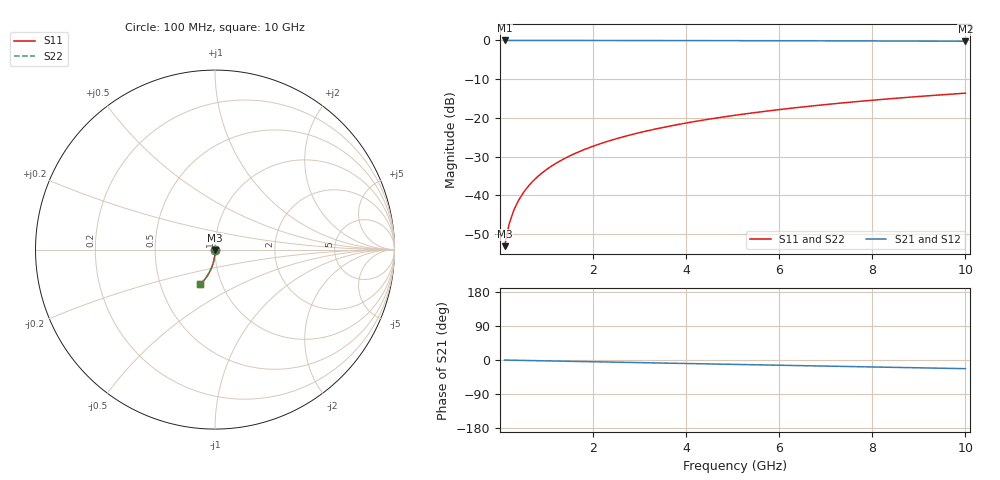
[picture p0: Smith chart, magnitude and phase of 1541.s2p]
# Hz S RI R 50.00
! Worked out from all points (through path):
!   100 points, 100 MHz to 10 GHz, reference 50 ohm
!   highest |S21| = 0.00 dB at 100 MHz (marker M1); lowest = -0.2 dB at 10 GHz (marker M2)
!   group delay of S21, straight-line fit = 6.36 ps
!   lowest |S11| = -53.1 dB at 100 MHz (marker M3), VSWR 1.00, Z = 50 - j0.216 ohm
!   |S11| at or under -10 dB: start of sweep to end of sweep
!   |S22| runs from -53.1 to -13.6 dB; largest |S21 - S12| = 1e-14
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1e8  0.000499 -0.00216  0.9995 -0.00402  0.9995 -0.00402  0.000499 -0.00216
2e8  0.000473 -0.00432  0.9994 -0.00804  0.9994 -0.00804  0.000473 -0.00432
3e8  0.000429 -0.00649  0.9994 -0.0121  0.9994 -0.0121  0.000429 -0.00649
4e8  0.000368 -0.00865  0.9993 -0.0161  0.9993 -0.0161  0.000368 -0.00865
5e8  0.000288 -0.0108  0.9992 -0.0201  0.9992 -0.0201  0.000288 -0.0108
6e8  0.000191 -0.013  0.9991 -0.0241  0.9991 -0.0241  0.000191 -0.013
7e8  7.66e-05 -0.0151  0.9989 -0.0281  0.9989 -0.0281  7.66e-05 -0.0151
8e8  -5.54e-05 -0.0173  0.9988 -0.0322  0.9988 -0.0322  -5.54e-05 -0.0173
9e8  -0.000205 -0.0194  0.9986 -0.0362  0.9986 -0.0362  -0.000205 -0.0194
1.1e9  -0.000556 -0.0238  0.9982 -0.0442  0.9982 -0.0442  -0.000556 -0.0238
1.4e9  -0.00121 -0.0302  0.9974 -0.0563  0.9974 -0.0563  -0.00121 -0.0302
1.8e9  -0.00233 -0.0388  0.996 -0.0723  0.996 -0.0723  -0.00233 -0.0388
2.1e9  -0.00335 -0.0452  0.9948 -0.0843  0.9948 -0.0843  -0.00335 -0.0452
2.5e9  -0.00495 -0.0537  0.9929 -0.1002  0.9929 -0.1002  -0.00495 -0.0537
2.9e9  -0.00682 -0.0621  0.9906 -0.1161  0.9906 -0.1161  -0.00682 -0.0621
3.4e9  -0.00954 -0.0726  0.9874 -0.1359  0.9874 -0.1359  -0.00954 -0.0726
4.2e9  -0.0148 -0.0891  0.9811 -0.1673  0.9811 -0.1673  -0.0148 -0.0891
5.1e9  -0.0218 -0.1071  0.9725 -0.2022  0.9725 -0.2022  -0.0218 -0.1071
5.9e9  -0.0292 -0.1227  0.9636 -0.2327  0.9636 -0.2327  -0.0292 -0.1227
6.7e9  -0.0375 -0.1377  0.9535 -0.2627  0.9535 -0.2627  -0.0375 -0.1377
8.4e9  -0.0582 -0.1675  0.9282 -0.3245  0.9282 -0.3245  -0.0582 -0.1675
1e10  -0.0809 -0.1925  0.9002 -0.3797  0.9002 -0.3797  -0.0809 -0.1925
